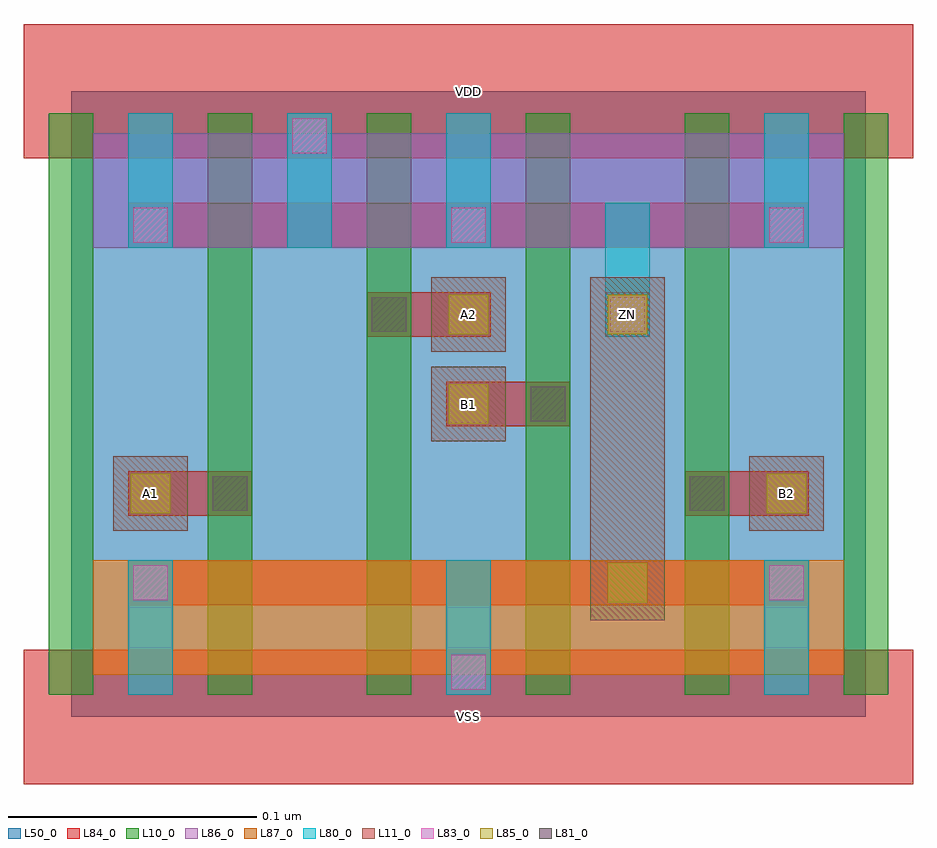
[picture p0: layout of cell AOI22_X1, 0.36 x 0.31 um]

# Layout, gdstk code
import gdstk
lib = gdstk.Library(unit=1e-6, precision=1e-09)
def R(c, l, rs):  # rectangles x0, y0, x1, y1
    for r in rs: c.add(gdstk.rectangle(r[:2], r[2:], *l))
def A(c, l, x, y, w, h, nx, ny, dx, dy):  # array of equal rectangles
    R(c, l, [(x+i*dx, y+j*dy, x+i*dx+w, y+j*dy+h) for i in range(nx) for j in range(ny)])
L10_0 = (10, 0)
L11_0 = (11, 0)
L50_0 = (50, 0)
L80_0 = (80, 0)
L81_0 = (81, 0)
L83_0 = (83, 0)
L84_0 = (84, 0)
L85_0 = (85, 0)
L86_0 = (86, 0)
L87_0 = (87, 0)

aoi22_x1 = lib.new_cell('AOI22_X1')
A(aoi22_x1, L10_0, -0.009, 0.009, 0.018, 0.234, 6, 1, 0.064, 0)
R(aoi22_x1, L11_0, [(0.209,0.039,0.239,0.177), (0.017,0.075,0.047,0.105), (0.273,0.075,0.303,0.105), (0.145,0.111,0.175,0.141), (0.145,0.147,0.175,0.177)])
R(aoi22_x1, L50_0, [(0,0,0.32,0.252)])
A(aoi22_x1, L80_0, 0.023, 0.009, 0.018, 0.054, 3, 1, 0.128, 0)
A(aoi22_x1, L80_0, 0.023, 0.189, 0.018, 0.054, 3, 1, 0.064, 0)
R(aoi22_x1, L80_0, [(0.215,0.153,0.233,0.207), (0.279,0.189,0.297,0.243)])
R(aoi22_x1, L81_0, [(0.057,0.083,0.071,0.097), (0.249,0.083,0.263,0.097), (0.185,0.119,0.199,0.133), (0.121,0.155,0.135,0.169)])
A(aoi22_x1, L83_0, 0.025, 0.191, 0.014, 0.014, 3, 1, 0.128, 0)
R(aoi22_x1, L83_0, [(0.153,0.011,0.167,0.025), (0.025,0.047,0.039,0.061), (0.281,0.047,0.295,0.061), (0.217,0.155,0.231,0.169), (0.089,0.227,0.103,0.241)])
R(aoi22_x1, L84_0, [(-0.019,-0.027,0.339,0.027), (0.023,0.045,0.297,0.063), (0.023,0.081,0.073,0.099), (0.247,0.081,0.297,0.099), (0.151,0.117,0.201,0.135), (0.119,0.153,0.169,0.171), (0.215,0.153,0.233,0.171), (0.023,0.189,0.297,0.207), (-0.019,0.225,0.339,0.279)])
R(aoi22_x1, L85_0, [(0.216,0.046,0.232,0.062), (0.024,0.082,0.04,0.098), (0.28,0.082,0.296,0.098), (0.152,0.118,0.168,0.134), (0.152,0.154,0.168,0.17), (0.216,0.154,0.232,0.17)])
R(aoi22_x1, L86_0, [(0.009,0.189,0.311,0.235)])
R(aoi22_x1, L87_0, [(0.009,0.017,0.311,0.063)])
aoi22_x1.add(gdstk.Label('VDD', (0.16,0.252), layer=88, texttype=0))
aoi22_x1.add(gdstk.Label('VSS', (0.16,0), layer=88, texttype=0))
aoi22_x1.add(gdstk.Label('ZN', (0.224,0.162), layer=31, texttype=0))
aoi22_x1.add(gdstk.Label('B1', (0.16,0.126), layer=31, texttype=0))
aoi22_x1.add(gdstk.Label('A1', (0.032,0.09), layer=31, texttype=0))
aoi22_x1.add(gdstk.Label('B2', (0.288,0.09), layer=31, texttype=0))
aoi22_x1.add(gdstk.Label('A2', (0.16,0.162), layer=31, texttype=0))

lib.write_gds('AOI22_X1.gds')
